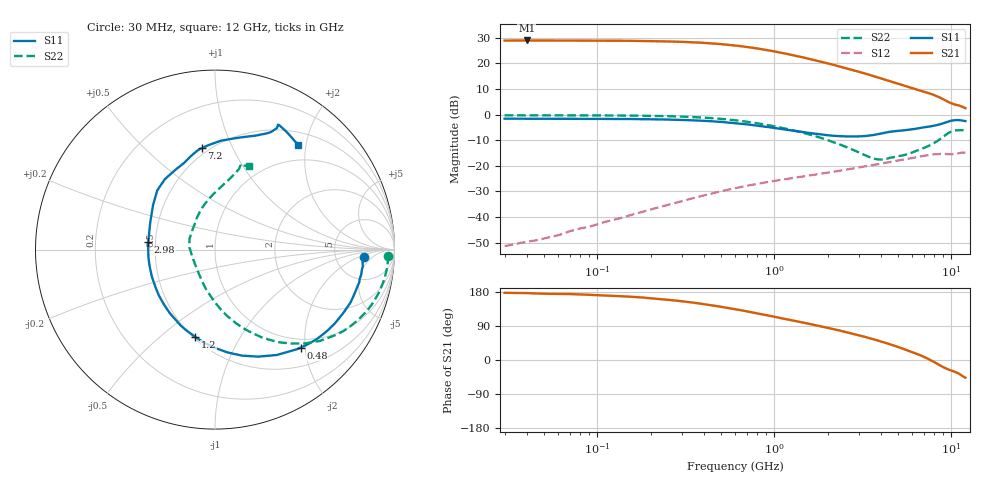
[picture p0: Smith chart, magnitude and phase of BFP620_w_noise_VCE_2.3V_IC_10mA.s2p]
! (c) 2015  Infineon Technologies AG, Munich
! Infineon Technologies  Discrete & RF Semiconductors
! BFP620
! VCE =  2.3 V,  IC =  10 mA
! Common Emitter S-Parameters:  Nov 2015
# GHz  S  MA  R  50
!  f  S11  S21  S12  S22
! GHz  MAG  ANG  MAG  ANG  MAG  ANG  MAG  ANG
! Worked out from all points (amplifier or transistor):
!   239 points, 30 MHz to 12 GHz, reference 50 ohm
!   highest |S21| = 28.9 dB at 40 MHz (marker M1)
!   |S21| within 3 dB of that: start of sweep to 779.5 MHz
!   unconditionally stable (mu >= 1): 4.038 GHz to end of sweep
!   at 300 MHz: K = 0.21, MSG = 31.1 dB, |S12| = -33.8 dB
!   at 1.88 GHz: K = 0.73, MSG = 21.7 dB, |S12| = -23.0 dB
!   at 12 GHz: K = 1.14, MAG = 6.4 dB, |S12| = -14.9 dB
!   lowest NFmin = 0.73 dB at 450 MHz
!   S11 on the Smith chart (normalised r, x): 30 MHz: 10, -3; 480 MHz: 0.83, -1.91; 1.2 GHz: 0.51, -0.66; 2.98 GHz: 0.46, +0.04; 7.2 GHz: 0.46, +0.77; 12 GHz: 0.70, +1.85
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0.03  0.8298 -3.0  27.77 177.2  0.0027 50.8  0.964 -2.0
0.04  0.8283 -4.2  27.87 176.6  0.0033 57.6  0.9646 -2.8
0.05  0.8251 -5.0  27.81 174.8  0.0038 63.2  0.9654 -3.5
0.07  0.8258 -7.6  27.85 174.0  0.0053 68.4  0.9651 -5.1
0.085  0.8262 -9.0  27.73 172.6  0.0062 70.4  0.9638 -6.3
0.155  0.8172 -16.4  27.41 166.9  0.0109 73.7  0.9531 -11.6
0.24  0.8 -25.2  26.74 159.9  0.0166 72.5  0.9313 -18.0
0.34  0.7732 -35.4  25.75 152.0  0.0229 69.3  0.8957 -24.9
0.4  0.7549 -41.4  25.04 147.4  0.0264 67.1  0.8701 -29.0
0.48  0.725 -48.8  23.91 141.8  0.0308 64.3  0.833 -34.1
0.6  0.6807 -59.6  22.25 134.1  0.0365 60.4  0.7744 -41.1
0.7  0.6432 -68.0  20.83 128.2  0.0407 57.4  0.7238 -46.2
0.8  0.6093 -75.8  19.47 123.0  0.0443 54.9  0.6756 -50.8
1  0.5474 -90.0  17.04 114.1  0.0506 50.7  0.5892 -58.7
1.2  0.4987 -102.8  15.02 106.6  0.0559 47.5  0.5153 -65.3
1.64  0.4286 -127.7  11.81 93.6  0.066 42.7  0.3933 -77.5
2.2  0.3843 -155.4  9.149 80.5  0.0773 38.1  0.282 -91.8
2.98  0.3742 173.6  6.867 65.4  0.0921 32.4  0.1844 -114.2
4.5  0.4609 134.3  4.491 41.3  0.1183 20.5  0.1435 174.4
7.2  0.5696 97.4  2.707 5.7  0.159 -1.9  0.2321 110.2
9  0.6747 70.3  1.988 -18.9  0.1707 -20.3  0.3678 82.2
12  0.745 51.8  1.332 -46.7  0.1807 -40.5  0.5026 68.2
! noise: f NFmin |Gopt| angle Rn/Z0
0.45  0.73  0.26  1  0.11
0.9  0.73  0.2  6  0.11
1.9  0.76  0.09  22  0.11
2.4  0.81  0.04  39  0.11
3.5  0.86  0.02  -174  0.12
5.5  1.18  0.09  -129  0.13
10  1.69  0.59  -52  0.71
